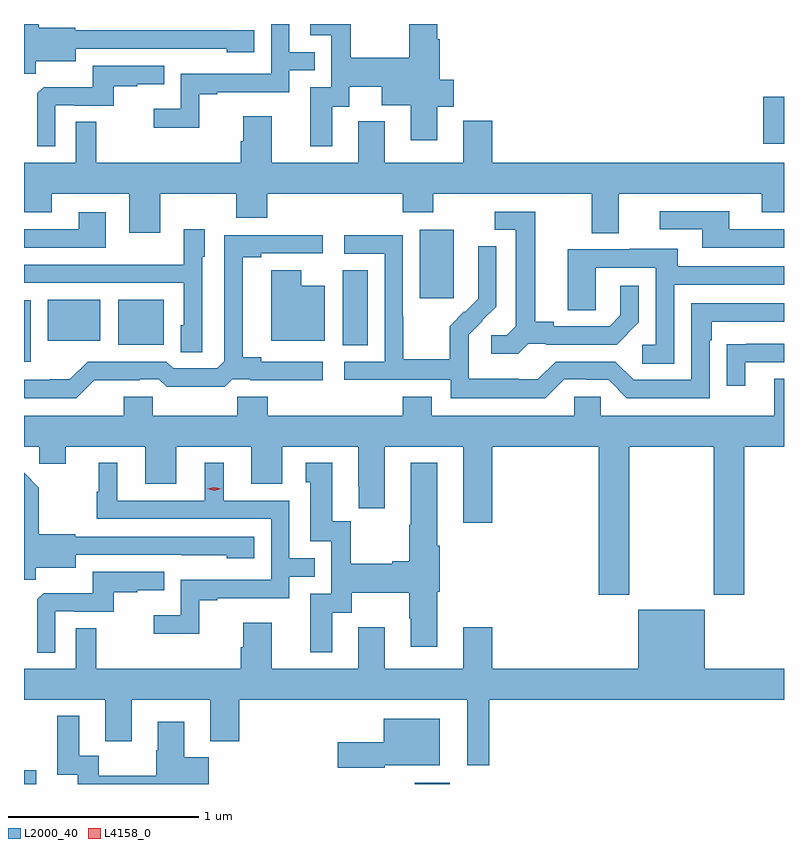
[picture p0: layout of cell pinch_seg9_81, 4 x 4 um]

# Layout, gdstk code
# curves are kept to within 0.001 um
import gdstk
lib = gdstk.Library(unit=1e-6, precision=1e-09)
def R(c, l, rs):  # rectangles x0, y0, x1, y1
    for r in rs: c.add(gdstk.rectangle(r[:2], r[2:], *l))
def P(c, l, *ps):  # polygons
    for p in ps: c.add(gdstk.Polygon(p, *l))
L2000_40 = (2000, 40)
L4158_0 = (4158, 0)

pinch_seg9_81 = lib.new_cell('pinch_seg9_81')
R(pinch_seg9_81, L2000_40, [(1115.398,1199.973,1115.463,1200.045), (1117.455,1199.973,1117.639,1199.98), (1115.398,1202.196,1115.433,1202.52), (1117.076,1202.281,1117.207,1202.678), (1115.894,1202.285,1116.133,1202.521), (1115.522,1202.306,1115.8,1202.521), (1117.481,1202.529,1117.66,1202.89), (1119.29,1203.344,1119.398,1203.589)])
P(pinch_seg9_81, L2000_40, [(1116.321,1203.603),(1116.415,1203.603),(1116.415,1203.615),(1116.795,1203.615),(1116.795,1203.729),(1116.929,1203.729),(1116.929,1203.825),(1116.795,1203.825),(1116.795,1203.973),(1116.699,1203.973),(1116.699,1203.711),(1116.222,1203.711),(1116.222,1203.526),(1116.081,1203.526),(1116.081,1203.428),(1116.321,1203.428)],
  [(1115.46,1203.776),(1115.671,1203.776),(1115.671,1203.843),(1116.229,1203.843),(1116.229,1203.842),(1116.465,1203.842),(1116.465,1203.824),(1116.61,1203.824),(1116.61,1203.939),(1115.667,1203.939),(1115.667,1203.952),(1115.475,1203.952),(1115.475,1203.973),(1115.398,1203.973),(1115.398,1203.712),(1115.46,1203.712)],
  [(1117.021,1203.538),(1117.111,1203.538),(1117.111,1203.644),(1117.28,1203.644),(1117.28,1203.545),(1117.433,1203.545),(1117.433,1203.36),(1117.573,1203.36),(1117.573,1203.538),(1117.66,1203.538),(1117.66,1203.68),(1117.586,1203.68),(1117.586,1203.892),(1117.573,1203.892),(1117.573,1203.973),(1117.426,1203.973),(1117.426,1203.796),(1117.119,1203.796),(1117.119,1203.973),(1116.905,1203.973),(1116.905,1203.915),(1117.014,1203.915),(1117.014,1203.639),(1116.905,1203.639),(1116.905,1203.33),(1117.021,1203.33)],
  [(1115.562,1203.546),(1115.662,1203.546),(1115.662,1203.543),(1115.87,1203.543),(1115.87,1203.645),(1115.993,1203.645),(1115.993,1203.656),(1116.137,1203.656),(1116.137,1203.753),(1115.76,1203.753),(1115.76,1203.641),(1115.501,1203.641),(1115.469,1203.609),(1115.469,1203.329),(1115.562,1203.329)],
  [(1118.527,1203.08),(1119.281,1203.08),(1119.281,1202.981),(1119.398,1202.981),(1119.398,1203.244),(1117.862,1203.244),(1117.862,1203.463),(1117.709,1203.463),(1117.709,1203.244),(1117.297,1203.244),(1117.297,1203.46),(1117.157,1203.46),(1117.157,1203.244),(1116.703,1203.244),(1116.703,1203.487),(1116.551,1203.487),(1116.551,1203.357),(1116.539,1203.357),(1116.539,1203.244),(1115.779,1203.244),(1115.779,1203.458),(1115.67,1203.458),(1115.67,1203.244),(1115.398,1203.244),(1115.398,1202.981),(1115.545,1202.981),(1115.545,1203.08),(1115.951,1203.08),(1115.951,1202.874),(1116.115,1202.874),(1116.115,1203.08),(1116.515,1203.08),(1116.515,1202.952),(1116.679,1202.952),(1116.679,1203.08),(1117.391,1203.08),(1117.391,1202.981),(1117.551,1202.981),(1117.551,1203.08),(1118.387,1203.08),(1118.387,1202.872),(1118.527,1202.872)],
  [(1119.398,1202.892),(1119.109,1202.892),(1119.109,1202.988),(1118.745,1202.988),(1118.745,1202.892),(1118.969,1202.892),(1118.969,1202.796),(1119.398,1202.796)],
  [(1118.052,1202.289),(1118.146,1202.289),(1118.146,1202.286),(1118.518,1202.286),(1118.634,1202.402),(1118.634,1202.596),(1118.537,1202.596),(1118.537,1202.439),(1118.48,1202.382),(1118.185,1202.382),(1118.185,1202.405),(1118.089,1202.405),(1118.089,1202.985),(1117.875,1202.985),(1117.875,1202.889),(1117.985,1202.889),(1117.985,1202.381),(1117.938,1202.334),(1117.857,1202.334),(1117.857,1202.237),(1118,1202.237)],
  [(1115.827,1202.983),(1115.687,1202.983),(1115.687,1202.892),(1115.398,1202.892),(1115.398,1202.796),(1115.827,1202.796)],
  [(1116.336,1202.748),(1116.349,1202.748),(1116.349,1202.893),(1116.24,1202.893),(1116.24,1202.707),(1115.923,1202.707),(1115.923,1202.706),(1115.398,1202.706),(1115.398,1202.61),(1116.24,1202.61),(1116.24,1202.388),(1116.224,1202.388),(1116.224,1202.245),(1116.336,1202.245)],
  [(1118.241,1202.103),(1118.357,1202.103),(1118.357,1202.1),(1118.475,1202.1),(1118.571,1202.004),(1119.006,1202.004),(1119.006,1202.309),(1119.019,1202.309),(1119.019,1202.406),(1119.398,1202.406),(1119.398,1202.502),(1118.91,1202.502),(1118.91,1202.1),(1118.607,1202.1),(1118.511,1202.196),(1118.196,1202.196),(1118.103,1202.103),(1118.003,1202.103),(1118.003,1202.107),(1117.74,1202.107),(1117.74,1202.241),(1117.738,1202.241),(1117.738,1202.338),(1117.884,1202.486),(1117.884,1202.804),(1117.788,1202.804),(1117.788,1202.65),(1117.79,1202.65),(1117.79,1202.528),(1117.719,1202.457),(1117.716,1202.46),(1117.639,1202.383),(1117.639,1202.209),(1117.395,1202.209),(1117.395,1202.432),(1117.392,1202.432),(1117.392,1202.862),(1117.083,1202.862),(1117.083,1202.763),(1117.296,1202.763),(1117.296,1202.196),(1117.083,1202.196),(1117.083,1202.1),(1117.644,1202.1),(1117.644,1202.003),(1118.141,1202.003)],
  [(1115.768,1202.099),(1116.008,1202.099),(1116.008,1202.103),(1116.108,1202.103),(1116.148,1202.064),(1116.455,1202.064),(1116.495,1202.103),(1116.589,1202.103),(1116.589,1202.099),(1116.97,1202.099),(1116.97,1202.196),(1116.646,1202.196),(1116.646,1202.219),(1116.55,1202.219),(1116.55,1202.746),(1116.646,1202.746),(1116.646,1202.766),(1116.97,1202.766),(1116.97,1202.862),(1116.453,1202.862),(1116.453,1202.199),(1116.414,1202.16),(1116.183,1202.16),(1116.147,1202.196),(1115.733,1202.196),(1115.639,1202.102),(1115.534,1202.102),(1115.534,1202.1),(1115.398,1202.1),(1115.398,1202.004),(1115.673,1202.004)],
  [(1118.82,1202.601),(1119.398,1202.601),(1119.398,1202.697),(1118.839,1202.697),(1118.839,1202.791),(1118.585,1202.791),(1118.585,1202.787),(1118.261,1202.787),(1118.261,1202.467),(1118.406,1202.467),(1118.406,1202.691),(1118.724,1202.691),(1118.724,1202.286),(1118.652,1202.286),(1118.652,1202.185),(1118.82,1202.185)],
  [(1116.982,1202.596),(1116.856,1202.596),(1116.856,1202.677),(1116.698,1202.677),(1116.698,1202.306),(1116.982,1202.306)],
  [(1119.193,1202.193),(1119.398,1202.193),(1119.398,1202.289),(1119.199,1202.289),(1119.199,1202.288),(1119.097,1202.288),(1119.097,1202.07),(1119.193,1202.07)],
  [(1117.391,1202.011),(1117.391,1201.912),(1116.68,1201.912),(1116.68,1202.01),(1116.52,1202.01),(1116.52,1201.912),(1116.075,1201.912),(1116.075,1202.01),(1115.924,1202.01),(1115.924,1201.912),(1115.398,1201.912),(1115.398,1201.748),(1115.479,1201.748),(1115.479,1201.658),(1115.617,1201.658),(1115.617,1201.748),(1116.035,1201.748),(1116.035,1201.554),(1116.199,1201.554),(1116.199,1201.748),(1116.593,1201.748),(1116.593,1201.554),(1116.757,1201.554),(1116.757,1201.748),(1117.157,1201.748),(1117.157,1201.537),(1117.16,1201.537),(1117.16,1201.425),(1117.297,1201.425),(1117.297,1201.748),(1117.709,1201.748),(1117.709,1201.347),(1117.862,1201.347),(1117.862,1201.748),(1118.423,1201.748),(1118.423,1200.969),(1118.583,1200.969),(1118.583,1201.748),(1119.028,1201.748),(1119.028,1200.969),(1119.188,1200.969),(1119.188,1201.748),(1119.398,1201.748),(1119.398,1202.107),(1119.347,1202.107),(1119.347,1201.912),(1118.433,1201.912),(1118.433,1202.01),(1118.295,1202.01),(1118.295,1201.912),(1117.543,1201.912),(1117.543,1202.011)],
  [(1117.021,1200.874),(1117.123,1200.874),(1117.123,1200.98),(1117.426,1200.98),(1117.426,1200.846),(1117.433,1200.846),(1117.433,1200.696),(1117.573,1200.696),(1117.573,1200.984),(1117.586,1200.984),(1117.586,1201.228),(1117.573,1201.228),(1117.573,1201.663),(1117.433,1201.663),(1117.433,1201.337),(1117.426,1201.337),(1117.426,1201.145),(1117.337,1201.145),(1117.337,1201.132),(1117.119,1201.132),(1117.119,1201.355),(1117.021,1201.355),(1117.021,1201.663),(1116.881,1201.663),(1116.881,1201.56),(1116.905,1201.56),(1116.905,1201.251),(1117.014,1201.251),(1117.014,1200.975),(1116.905,1200.975),(1116.905,1200.666),(1117.021,1200.666)],
  [(1116.321,1200.939),(1116.415,1200.939),(1116.415,1200.951),(1116.795,1200.951),(1116.795,1201.065),(1116.929,1201.065),(1116.929,1201.161),(1116.795,1201.161),(1116.795,1201.464),(1116.448,1201.464),(1116.448,1201.663),(1116.35,1201.663),(1116.35,1201.464),(1115.89,1201.464),(1115.89,1201.663),(1115.792,1201.663),(1115.792,1201.512),(1115.781,1201.512),(1115.781,1201.368),(1116.699,1201.368),(1116.699,1201.047),(1116.222,1201.047),(1116.222,1200.862),(1116.081,1200.862),(1116.081,1200.764),(1116.321,1200.764)],
  [(1115.46,1201.112),(1115.671,1201.112),(1115.671,1201.179),(1116.465,1201.178),(1116.465,1201.16),(1116.61,1201.16),(1116.61,1201.275),(1115.667,1201.275),(1115.667,1201.288),(1115.475,1201.288),(1115.475,1201.533),(1115.398,1201.61),(1115.398,1201.048),(1115.46,1201.048)],
  [(1115.562,1200.882),(1115.662,1200.882),(1115.662,1200.879),(1115.87,1200.879),(1115.87,1200.981),(1115.993,1200.981),(1115.993,1200.992),(1116.137,1200.992),(1116.137,1201.089),(1115.76,1201.089),(1115.76,1200.977),(1115.501,1200.977),(1115.469,1200.945),(1115.469,1200.665),(1115.562,1200.665)],
  [(1119.398,1200.58),(1118.98,1200.58),(1118.98,1200.889),(1118.63,1200.889),(1118.63,1200.58),(1117.862,1200.58),(1117.862,1200.799),(1117.709,1200.799),(1117.709,1200.58),(1117.297,1200.58),(1117.297,1200.799),(1117.157,1200.799),(1117.157,1200.58),(1116.703,1200.58),(1116.703,1200.823),(1116.551,1200.823),(1116.551,1200.693),(1116.539,1200.693),(1116.539,1200.58),(1115.779,1200.58),(1115.779,1200.794),(1115.67,1200.794),(1115.67,1200.58),(1115.398,1200.58),(1115.398,1200.416),(1115.825,1200.416),(1115.825,1200.198),(1115.965,1200.198),(1115.965,1200.416),(1116.377,1200.416),(1116.377,1200.198),(1116.53,1200.198),(1116.53,1200.416),(1117.73,1200.416),(1117.73,1200.072),(1117.847,1200.072),(1117.847,1200.416),(1119.398,1200.416)],
  [(1116.37,1200.113),(1116.241,1200.113),(1116.241,1200.301),(1116.101,1200.301),(1116.101,1200.15),(1116.094,1200.15),(1116.094,1200.016),(1115.791,1200.016),(1115.791,1200.122),(1115.689,1200.122),(1115.689,1200.331),(1115.573,1200.331),(1115.573,1200.021),(1115.682,1200.021),(1115.682,1199.973),(1116.37,1199.973)],
  [(1117.296,1200.071),(1117.585,1200.071),(1117.585,1200.316),(1117.292,1200.316),(1117.292,1200.193),(1117.05,1200.193),(1117.05,1200.059),(1117.296,1200.059)])
P(pinch_seg9_81, L4158_0, [(1116.399,1201.516),(1116.363,1201.526),(1116.363,1201.526),(1116.363,1201.526),(1116.399,1201.536),(1116.435,1201.527),(1116.435,1201.527),(1116.435,1201.527)])

lib.write_gds('pinch_seg9_81.gds')
